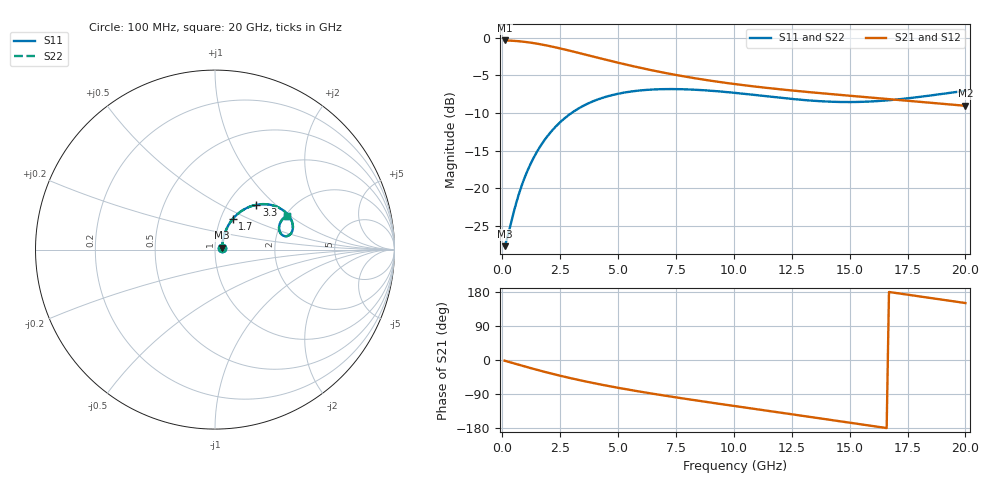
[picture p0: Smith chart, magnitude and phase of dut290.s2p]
! Created with skrf 1.9.0 (http://scikit-rf.org).
# GHz S RI R 50.0
!freq ReS11 ImS11 ReS21 ImS21 ReS12 ImS12 ReS22 ImS22
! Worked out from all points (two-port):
!   200 points, 100 MHz to 20 GHz, reference 50 ohm
!   highest |S21| = -0.35 dB at 100 MHz (marker M1); lowest = -9.0 dB at 20 GHz (marker M2)
!   |S21| within 3 dB of the highest: start of sweep to 5.057 GHz
!   lowest |S11| = -27.7 dB at 100 MHz (marker M3), VSWR 1.09, Z = 54.1 + j1.22 ohm
!   |S11| at or under -10 dB: start of sweep to 2.989 GHz
!   |S22| runs from -27.7 to -6.8 dB; largest |S21 - S12| = 1.9e-15
!   S11 on the Smith chart (normalised r, x): 100 MHz: 1.08, +0.02; 1.7 GHz: 1.14, +0.40; 3.3 GHz: 1.35, +0.76; 20 GHz: 2.04, +0.96
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0.1  0.0396 0.0113  0.9599 -0.0304  0.9599 -0.0304  0.0396 0.0113
0.2  0.0403 0.0218  0.9578 -0.0599  0.9578 -0.0599  0.0403 0.0218
0.6  0.0469 0.0643  0.936 -0.1759  0.936 -0.1759  0.0469 0.0643
0.9  0.0561 0.0953  0.9067 -0.2576  0.9067 -0.2576  0.0561 0.0953
1.3  0.074 0.1345  0.8535 -0.3561  0.8535 -0.3561  0.074 0.1345
1.7  0.0981 0.1698  0.7879 -0.4404  0.7879 -0.4404  0.0981 0.1698
2.4  0.1519 0.2179  0.6562 -0.5513  0.6562 -0.5513  0.1519 0.2179
2.8  0.1864 0.2362  0.5776 -0.5947  0.5776 -0.5947  0.1864 0.2362
3.3  0.2301 0.2495  0.4808 -0.6314  0.4808 -0.6314  0.2301 0.2495
3.5  0.2472 0.2521  0.4433 -0.6413  0.4433 -0.6413  0.2472 0.2521
4.2  0.3026 0.2507  0.3199 -0.6589  0.3199 -0.6589  0.3026 0.2507
5.1  0.3596 0.2316  0.1816 -0.6527  0.1816 -0.6527  0.3596 0.2316
5.9  0.3956 0.2059  0.0778 -0.63  0.0778 -0.63  0.3956 0.2059
6.8  0.4206 0.1739  -0.0202 -0.5933  -0.0202 -0.5933  0.4206 0.1739
8.4  0.4341 0.1225  -0.1561 -0.5127  -0.1561 -0.5127  0.4341 0.1225
10.1  0.4209 0.0867  -0.2611 -0.416  -0.2611 -0.416  0.4209 0.0867
11.7  0.3972 0.0746  -0.3316 -0.3184  -0.3316 -0.3184  0.3972 0.0746
13.4  0.3727 0.0829  -0.3794 -0.2092  -0.3794 -0.2092  0.3727 0.0829
15  0.3587 0.1058  -0.3986 -0.1043  -0.3986 -0.1043  0.3587 0.1058
16.7  0.3591 0.1378  -0.3913 0.00348  -0.3913 0.00348  0.3591 0.1378
18.3  0.3744 0.1668  -0.3602 0.0949  -0.3602 0.0949  0.3744 0.1668
20  0.4025 0.1887  -0.3068 0.1749  -0.3068 0.1749  0.4025 0.1887
